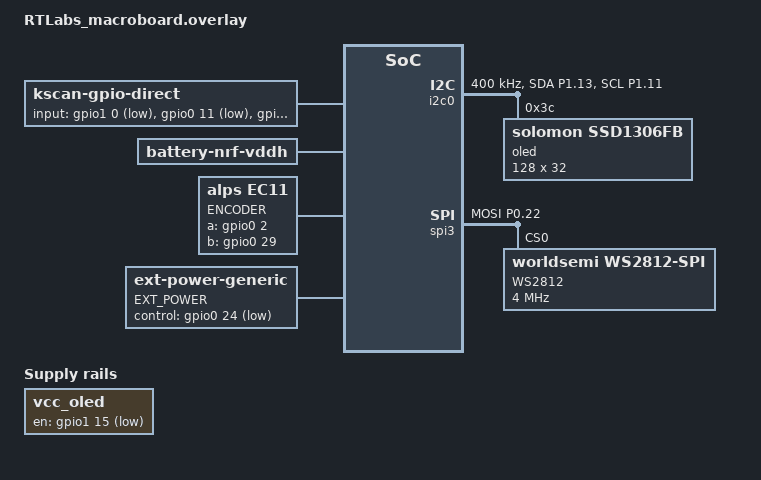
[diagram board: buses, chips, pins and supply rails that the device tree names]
#include <dt-bindings/zmk/matrix_transform.h>
#include <dt-bindings/led/led.h>

/ {
    chosen {
        zmk,kscan = &kscan0;
        zephyr,display = &oled;
        zmk,underglow = &led_strip;
        zmk,battery = &vbatt;
    };

    /* 8 Matrix Keys + 1 Encoder Push Switch */
    kscan0: kscan {
        compatible = "zmk,kscan-gpio-direct";
        label = "KSCAN";
        input-gpios
            = <&gpio1  0 (GPIO_ACTIVE_LOW | GPIO_PULL_UP)> /* SW2: P1.00 */
            , <&gpio0 11 (GPIO_ACTIVE_LOW | GPIO_PULL_UP)> /* SW3: P0.11 */
            , <&gpio1  4 (GPIO_ACTIVE_LOW | GPIO_PULL_UP)> /* SW4: P1.04 */
            , <&gpio1  6 (GPIO_ACTIVE_LOW | GPIO_PULL_UP)> /* SW5: P1.06 */
            , <&gpio0 17 (GPIO_ACTIVE_LOW | GPIO_PULL_UP)> /* SW6: P0.17 */
            , <&gpio0 20 (GPIO_ACTIVE_LOW | GPIO_PULL_UP)> /* SW7: P0.20 */
            , <&gpio0 10 (GPIO_ACTIVE_LOW | GPIO_PULL_UP)> /* SW8: P0.10 */
            , <&gpio0  9 (GPIO_ACTIVE_LOW | GPIO_PULL_UP)> /* SW9: P0.09 */
            , <&gpio0 31 (GPIO_ACTIVE_LOW | GPIO_PULL_UP)> /* SW10 Push: P0.31 */
            ;
    };

    vbatt: vbatt {
        compatible = "zmk,battery-nrf-vddh";
        label = "BATTERY";
    };

    /* Rotary Encoder (KY-040) */
    encoder: encoder {
        compatible = "alps,ec11";
        label = "ENCODER";
        a-gpios = <&gpio0  2 (GPIO_ACTIVE_HIGH | GPIO_PULL_UP)>; /* Pin A: P0.02 */
        b-gpios = <&gpio0 29 (GPIO_ACTIVE_HIGH | GPIO_PULL_UP)>; /* Pin B: P0.29 */
        steps = <80>;
        status = "okay";
    };

    sensors: sensors {
        compatible = "zmk,keymap-sensors";
        sensors = <&encoder>;
        status = "okay";
    };

    /* OLED Power Gate (Q2 on P1.15) */
    vcc_oled: vcc_oled {
        compatible = "regulator-fixed";
        regulator-name = "vcc_oled";
        enable-gpios = <&gpio1 15 GPIO_ACTIVE_LOW>;
        regulator-always-on;
        regulator-boot-on;
    };

    /* RGB Underglow Power (Q3 on P0.24) */
    ext_power: ext_power {
        compatible = "zmk,ext-power-generic";
        label = "EXT_POWER";
        control-gpios = <&gpio0 24 GPIO_ACTIVE_LOW>;
        init-delay-ms = <50>;
    };
};

/* I2C OLED Configuration */
&pinctrl {
    i2c0_default: i2c0_default {
        group1 {
            psels = <NRF_PSEL(TWIM_SDA, 1, 13)>,
                    <NRF_PSEL(TWIM_SCL, 1, 11)>;
        };
    };

    i2c0_sleep: i2c0_sleep {
        group1 {
            psels = <NRF_PSEL(TWIM_SDA, 1, 13)>,
                    <NRF_PSEL(TWIM_SCL, 1, 11)>;
            low-power-enable;
        };
    };

    /* SPI Pin Assignment: MOSI -> P0.22 */
    spi3_default: spi3_default {
        group1 {
            psels = <NRF_PSEL(SPIM_MOSI, 0, 22)>;
        };
    };

    spi3_sleep: spi3_sleep {
        group1 {
            psels = <NRF_PSEL(SPIM_MOSI, 0, 22)>;
            low-power-enable;
        };
    };
};

&i2c0 {
    status = "okay";
    compatible = "nordic,nrf-twim";
    pinctrl-0 = <&i2c0_default>;
    pinctrl-1 = <&i2c0_sleep>;
    pinctrl-names = "default", "sleep";
    clock-frequency = <I2C_BITRATE_FAST>;

    oled: ssd1306@3c {
        compatible = "solomon,ssd1306fb";
        reg = <0x3c>;
        width = <128>;
        height = <32>;
        segment-offset = <0>;
        page-offset = <0>;
        display-offset = <0>;
        multiplex-ratio = <31>;
        segment-remap;
        com-invdir;
        com-sequential;
        prechargep = <0x22>;
    };
};

&spi3 {
    compatible = "nordic,nrf-spim";
    status = "okay";
    pinctrl-0 = <&spi3_default>;
    pinctrl-1 = <&spi3_sleep>;
    pinctrl-names = "default", "sleep";

    led_strip: ws2812@0 {
        compatible = "worldsemi,ws2812-spi";
        label = "WS2812";
        reg = <0>;
        spi-max-frequency = <4000000>;
        chain-length = <1>;
        spi-one-frame = <0x70>;
        spi-zero-frame = <0x40>;
        color-mapping = <LED_COLOR_ID_GREEN
                         LED_COLOR_ID_RED
                         LED_COLOR_ID_BLUE>;
    };
};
